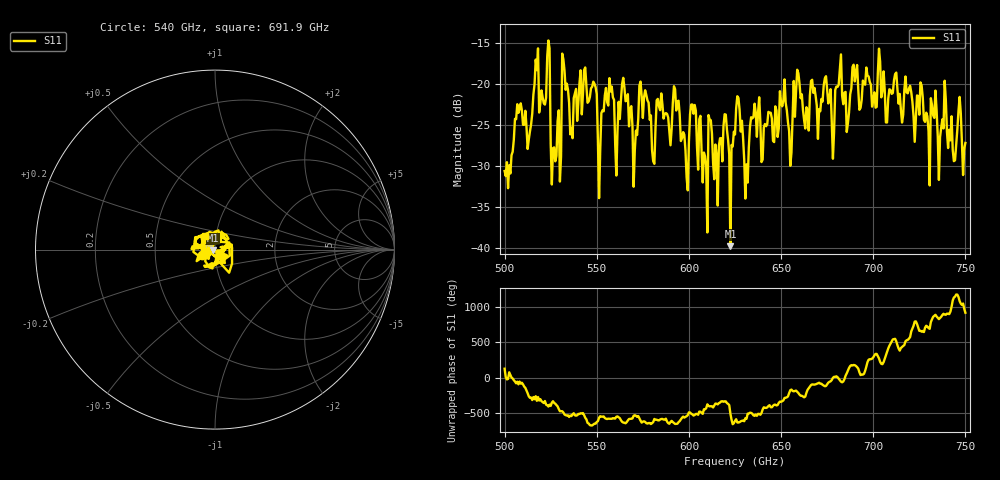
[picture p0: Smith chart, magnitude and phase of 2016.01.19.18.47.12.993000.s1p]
!Created with skrf (http://scikit-rf.org).
# GHz S RI R 50.0
!freq ReS11 ImS11
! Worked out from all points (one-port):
!   401 points, 500 GHz to 750 GHz, reference 50 ohm
!   lowest |S11| = -39.8 dB at 622.5 GHz (marker M1), VSWR 1.02, Z = 49.1 - j0.443 ohm
!   |S11| at or under -10 dB: start of sweep to end of sweep
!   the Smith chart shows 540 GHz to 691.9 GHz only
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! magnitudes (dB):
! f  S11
! 500 GHz  -30.6
! 508.1 GHz  -23.0
! 513.8 GHz  -25.8
! 516.9 GHz  -17.1
! 523.1 GHz  -16.7
! 526.9 GHz  -27.7
! 531.2 GHz  -16.3
! 548.8 GHz  -20.0
! 551.9 GHz  -28.1
! 555.6 GHz  -22.2
! 562.5 GHz  -24.3
! 570.6 GHz  -28.1
! 574.4 GHz  -21.5
! 580.6 GHz  -29.4
! 593.8 GHz  -22.1
! 598.8 GHz  -31.4
! 602.5 GHz  -23.6
! 608.8 GHz  -28.8
! 611.9 GHz  -24.4
! 622.5 GHz  -39.8
! 625 GHz  -26.2
! 631.2 GHz  -29.8
! 635 GHz  -24.1
! 656.2 GHz  -24.2
! 659.4 GHz  -18.7
! 687.5 GHz  -21.3
! 718.8 GHz  -21.2
! 750 GHz  -27.2
